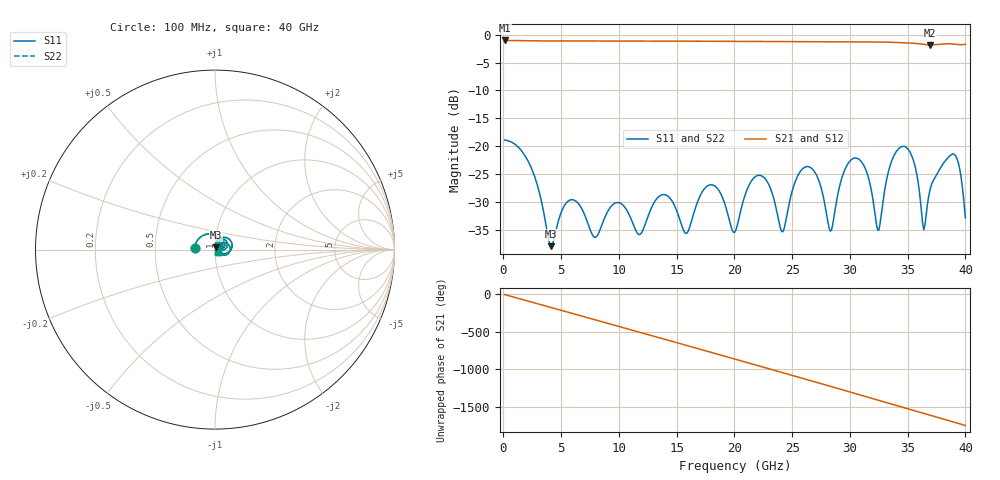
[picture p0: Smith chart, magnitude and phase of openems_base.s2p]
! T_vna6_cpwg_20: Coplanar waveguide with ground, LibreVNA RF class (w 0.35, gap 0.18 mm), 20 mm
! stackup: LibreVNA 6-layer (7628 / FR-4, from the board file)
! ports: 1 near A, 2 far A
! openEMS 0.37.0, staircase, base mesh (dfine 0.035 mm), 1082240 cells
# Hz S RI R 50
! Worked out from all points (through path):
!   400 points, 100 MHz to 40 GHz, reference 50 ohm
!   highest |S21| = -1.06 dB at 100 MHz (marker M1); lowest = -1.8 dB at 36.9 GHz (marker M2)
!   group delay of S21, straight-line fit = 122 ps
!   lowest |S11| = -37.8 dB at 4.1 GHz (marker M3), VSWR 1.03, Z = 50.4 + j1.23 ohm
!   |S11| at or under -10 dB: start of sweep to end of sweep
!   |S22| runs from -37.8 to -18.9 dB; largest |S21 - S12| = 0
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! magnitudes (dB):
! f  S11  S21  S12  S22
! 100 MHz  -18.9  -1.1  -1.1  -18.9
! 2.4 GHz  -23.8  -1.1  -1.1  -23.8
! 4.1 GHz  -37.8  -1.1  -1.1  -37.8
! 5.4 GHz  -30.2  -1.1  -1.1  -30.2
! 6.8 GHz  -31.2  -1.1  -1.1  -31.2
! 11.8 GHz  -35.8  -1.2  -1.2  -35.8
! 13.4 GHz  -29.1  -1.2  -1.2  -29.1
! 15.8 GHz  -35.6  -1.2  -1.2  -35.6
! 18.2 GHz  -27.0  -1.2  -1.2  -27.0
! 20.1 GHz  -35.1  -1.2  -1.2  -35.1
! 22.1 GHz  -25.2  -1.2  -1.2  -25.2
! 24.2 GHz  -35.2  -1.2  -1.2  -35.2
! 26.7 GHz  -24.0  -1.3  -1.3  -24.0
! 28.3 GHz  -35.1  -1.3  -1.3  -35.1
! 30.5 GHz  -22.1  -1.3  -1.3  -22.1
! 32.5 GHz  -35.0  -1.3  -1.3  -35.0
! 33.4 GHz  -24.0  -1.4  -1.4  -24.0
! 35.2 GHz  -21.0  -1.5  -1.5  -21.0
! 36.4 GHz  -34.9  -1.8  -1.8  -34.9
! 36.9 GHz  -28.1  -1.8  -1.8  -28.1
! 39 GHz  -21.4  -1.7  -1.7  -21.4
! 40 GHz  -32.8  -1.7  -1.7  -32.8
